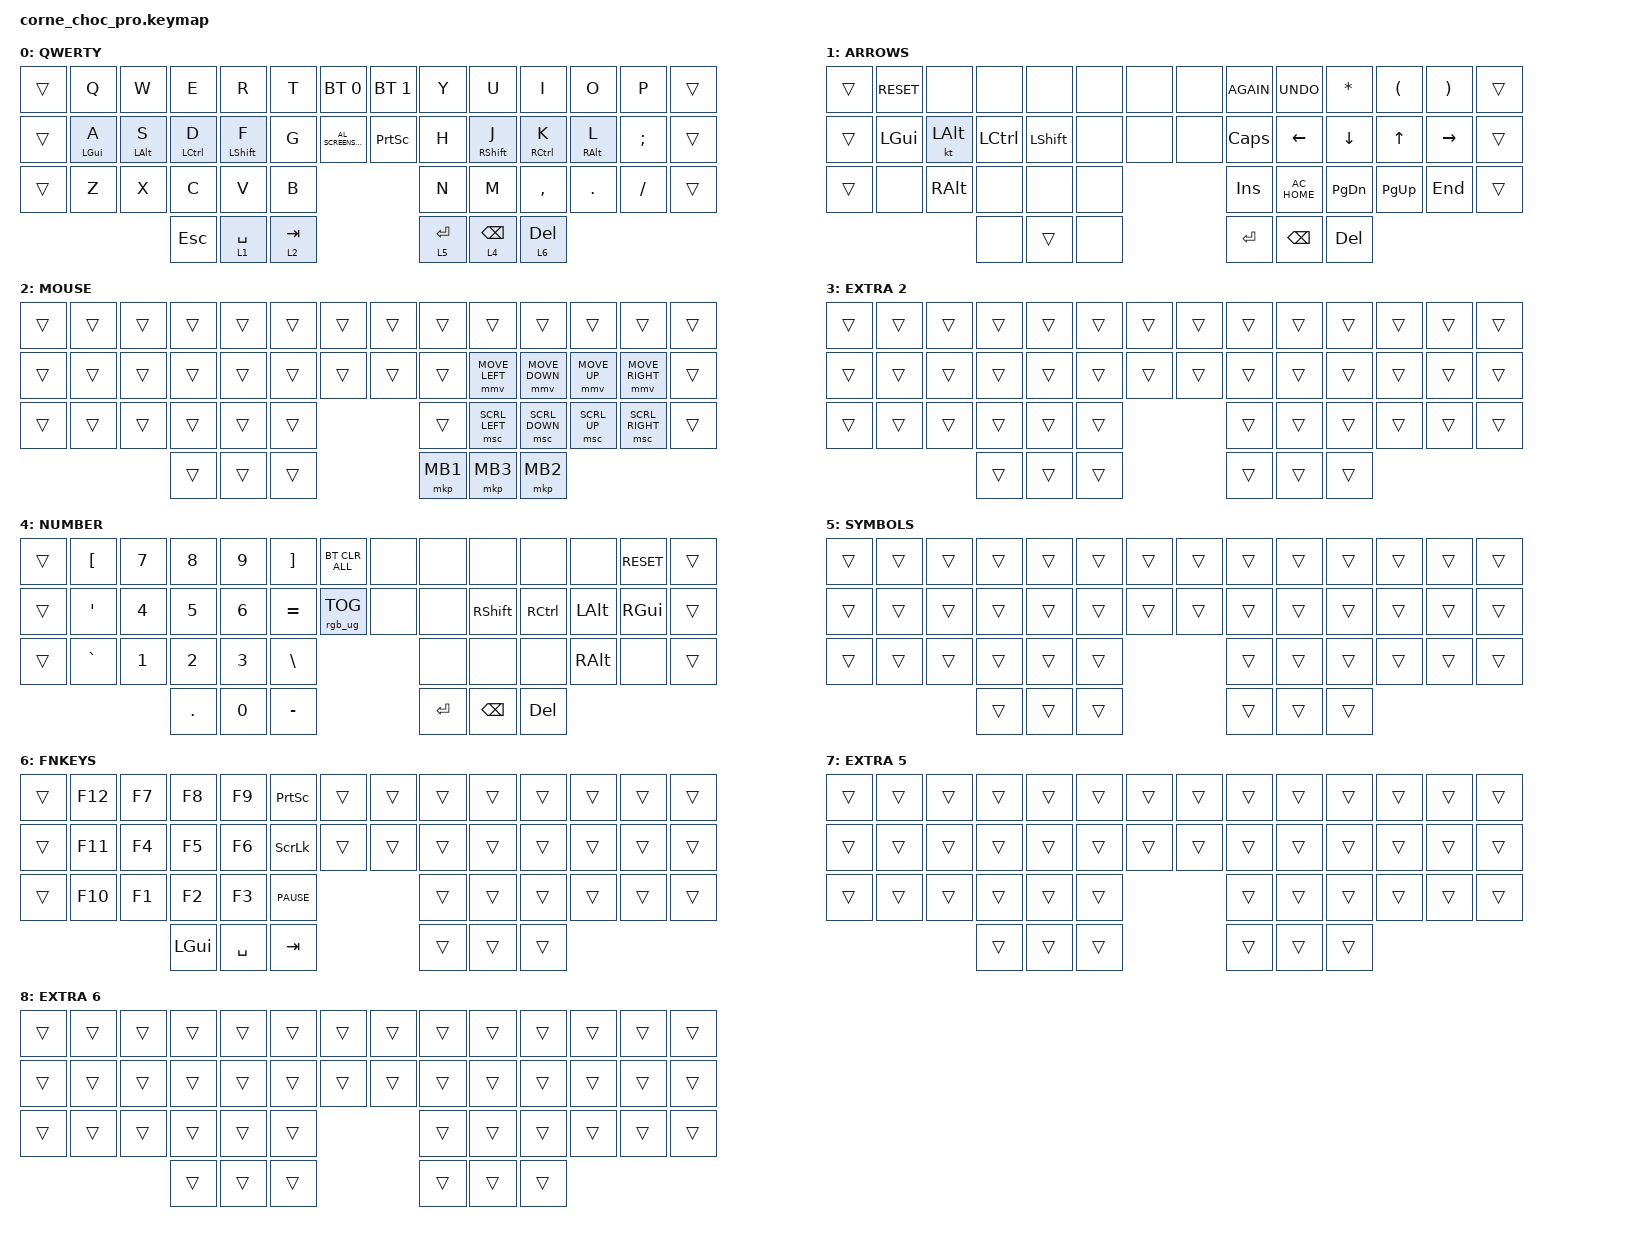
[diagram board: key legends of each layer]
/*
 * Copyright (c) 2020 The ZMK Contributors
 *
 * SPDX-License-Identifier: MIT
 */

#include <behaviors.dtsi>
#include <dt-bindings/zmk/bt.h>
#include <dt-bindings/zmk/keys.h>
#include <dt-bindings/zmk/pointing.h>
#include <dt-bindings/zmk/rgb.h>

/ {
    chosen { zmk,physical-layout = &default_layout; };
};

/ {
    behaviors {
        hkp: hkp {
            compatible = "zmk,behavior-hold-tap";
            label = "HKP";
            bindings = <&kp>, <&kp>;

            #binding-cells = <2>;
            hold-trigger-key-positions = <17 18 19 16 23 22 24 25 15>;
            tapping-term-ms = <150>;
            flavor = "tap-preferred";
        };
    };

    keymap {
        compatible = "zmk,keymap";

        default_layer {
            display-name = "QWERTY";

            // --------------------------------------------------------------------------------
            // |  TAB |  Q  |  W  |  E  |  R  |  T  |  MUTE |  PP   |  Y  |  U   |  I  |  O  |  P  | BSPC |
            // | CTRL |  A  |  S  |  D  |  F  |  G  |  LALT |  RALT |  H  |  J   |  K  |  L  |  ;  |  '   |
            // | SHFT |  Z  |  X  |  C  |  V  |  B  |               |  N  |  M   |  ,  |  .  |  /  | ESC  |
            //                    | GUI | LWR | SPC |               | ENT | RSE  | ALT |

            bindings = <
&trans  &kp Q            &kp W            &kp E         &kp R              &kp T      &bt BT_SEL 0          &bt BT_SEL 1     &kp Y        &kp U               &kp I         &kp O             &kp P          &trans
&trans  &hkp LEFT_GUI A  &hkp LEFT_ALT S  &hkp LCTRL D  &hkp LEFT_SHIFT F  &kp G      &kp C_AL_SCREENSAVER  &kp PRINTSCREEN  &kp H        &hkp RIGHT_SHIFT J  &hkp RCTRL K  &hkp RIGHT_ALT L  &kp SEMICOLON  &trans
&trans  &kp Z            &kp X            &kp C         &kp V              &kp B                                             &kp N        &kp M               &kp COMMA     &kp DOT           &kp FSLH       &trans
                                          &kp ESCAPE    &lt 1 SPACE        &lt 2 TAB                                         &lt 5 ENTER  &lt 4 BACKSPACE     &lt 6 DELETE
            >;
        };

        layer_1 {
            display-name = "ARROWS";

            // -----------------------------------------------------------------------------------------
            // |  TAB |  !  |  @  |  #  |  $  |  %  | LCTRL | RCTRL |  ^  |  &  |  *  |  (  |  )  | BSPC |
            // | CTRL |     |     |     |     |     |  LALT | RALT  |  -  |  =  |  [  |  ]  |  \  |  `   |
            // | SHFT |     |     |     |     |     |               |  _  |  +  |  {  |  }  | "|" |  ~   |
            //                    | GUI |     | SPC |               | ENT |     | ALT |

            bindings = <
&trans  &kp C_RESET   &none          &none             &none           &none  &none  &none  &kp K_AGAIN  &kp K_UNDO      &kp ASTRK      &kp LPAR      &kp RPAR         &trans
&trans  &kp LEFT_GUI  &kt LEFT_ALT   &kp LEFT_CONTROL  &kp LEFT_SHIFT  &none  &none  &none  &kp CAPS     &kp LEFT_ARROW  &kp DOWN       &kp UP_ARROW  &kp RIGHT_ARROW  &trans
&trans  &none         &kp RIGHT_ALT  &none             &none           &none                &kp INSERT   &kp C_AC_HOME   &kp PAGE_DOWN  &kp PAGE_UP   &kp END          &trans
                                     &none             &trans          &none                &kp RET      &kp BACKSPACE   &kp DELETE
            >;
        };

        layer_2 {
            display-name = "MOUSE";
            bindings = <
&trans  &trans  &trans  &trans  &trans  &trans  &trans  &trans  &trans    &trans          &trans          &trans        &trans           &trans
&trans  &trans  &trans  &trans  &trans  &trans  &trans  &trans  &trans    &mmv MOVE_LEFT  &mmv MOVE_DOWN  &mmv MOVE_UP  &mmv MOVE_RIGHT  &trans
&trans  &trans  &trans  &trans  &trans  &trans                  &trans    &msc SCRL_LEFT  &msc SCRL_DOWN  &msc SCRL_UP  &msc SCRL_RIGHT  &trans
                        &trans  &trans  &trans                  &mkp MB1  &mkp MB3        &mkp MB2
            >;
        };

        extra_layer_2 {
            display-name = "EXTRA 2";
            bindings = <
&trans  &trans  &trans  &trans  &trans  &trans  &trans  &trans  &trans  &trans  &trans  &trans  &trans  &trans
&trans  &trans  &trans  &trans  &trans  &trans  &trans  &trans  &trans  &trans  &trans  &trans  &trans  &trans
&trans  &trans  &trans  &trans  &trans  &trans                  &trans  &trans  &trans  &trans  &trans  &trans
                        &trans  &trans  &trans                  &trans  &trans  &trans
            >;
        };

        layer_4 {
            display-name = "NUMBER";

            // -----------------------------------------------------------------------------------------
            // |  TAB |  1  |  2  |  3  |  4  |  5    |  LCTRL | RCTRL |  6  |  7  |  8  |  9  |  0  | BSPC |
            // | CTRL | BT1 | BT2 | BT3 | BT4 | BT5   |  LALT  | RALT  | LFT | DWN |  UP | RGT |     |      |
            // | SHFT | BTCR| RGB | RST | BOOT| Unlock|        |       |     |     |     |     |     |      |
            //                    | GUI |     | SPC   |        | ENT   |     | ALT |

            bindings = <
&trans  &kp LBKT   &kp N7  &kp N8   &kp N9  &kp RBKT   &bt BT_CLR_ALL   &none  &none      &none            &none              &none          &kp C_RESET    &trans
&trans  &kp APOS   &kp N4  &kp N5   &kp N6  &kp EQUAL  &rgb_ug RGB_TOG  &none  &none      &kp RIGHT_SHIFT  &kp RIGHT_CONTROL  &kp LEFT_ALT   &kp RIGHT_GUI  &trans
&trans  &kp GRAVE  &kp N1  &kp N2   &kp N3  &kp BSLH                           &none      &none            &none              &kp RIGHT_ALT  &none          &trans
                           &kp DOT  &kp N0  &kp MINUS                          &kp ENTER  &kp BACKSPACE    &kp DELETE
            >;
        };

        layer_5 {
            display-name = "SYMBOLS";
            bindings = <
&trans  &trans  &trans  &trans  &trans  &trans  &trans  &trans  &trans  &trans  &trans  &trans  &trans  &trans
&trans  &trans  &trans  &trans  &trans  &trans  &trans  &trans  &trans  &trans  &trans  &trans  &trans  &trans
&trans  &trans  &trans  &trans  &trans  &trans                  &trans  &trans  &trans  &trans  &trans  &trans
                        &trans  &trans  &trans                  &trans  &trans  &trans
            >;
        };

        layer_6 {
            display-name = "FNKEYS";
            bindings = <
&trans  &kp F12  &kp F7  &kp F8        &kp F9     &kp PRINTSCREEN  &trans  &trans  &trans  &trans  &trans  &trans  &trans  &trans
&trans  &kp F11  &kp F4  &kp F5        &kp F6     &kp SCROLLLOCK   &trans  &trans  &trans  &trans  &trans  &trans  &trans  &trans
&trans  &kp F10  &kp F1  &kp F2        &kp F3     &kp C_PAUSE                      &trans  &trans  &trans  &trans  &trans  &trans
                         &kp LEFT_GUI  &kp SPACE  &kp TAB                          &trans  &trans  &trans
            >;
        };

        extra_layer_5 {
            display-name = "EXTRA 5";
            bindings = <
&trans  &trans  &trans  &trans  &trans  &trans  &trans  &trans  &trans  &trans  &trans  &trans  &trans  &trans
&trans  &trans  &trans  &trans  &trans  &trans  &trans  &trans  &trans  &trans  &trans  &trans  &trans  &trans
&trans  &trans  &trans  &trans  &trans  &trans                  &trans  &trans  &trans  &trans  &trans  &trans
                        &trans  &trans  &trans                  &trans  &trans  &trans
            >;
        };

        extra_layer_6 {
            display-name = "EXTRA 6";
            bindings = <
&trans  &trans  &trans  &trans  &trans  &trans  &trans  &trans  &trans  &trans  &trans  &trans  &trans  &trans
&trans  &trans  &trans  &trans  &trans  &trans  &trans  &trans  &trans  &trans  &trans  &trans  &trans  &trans
&trans  &trans  &trans  &trans  &trans  &trans                  &trans  &trans  &trans  &trans  &trans  &trans
                        &trans  &trans  &trans                  &trans  &trans  &trans
            >;
        };
    };
};
